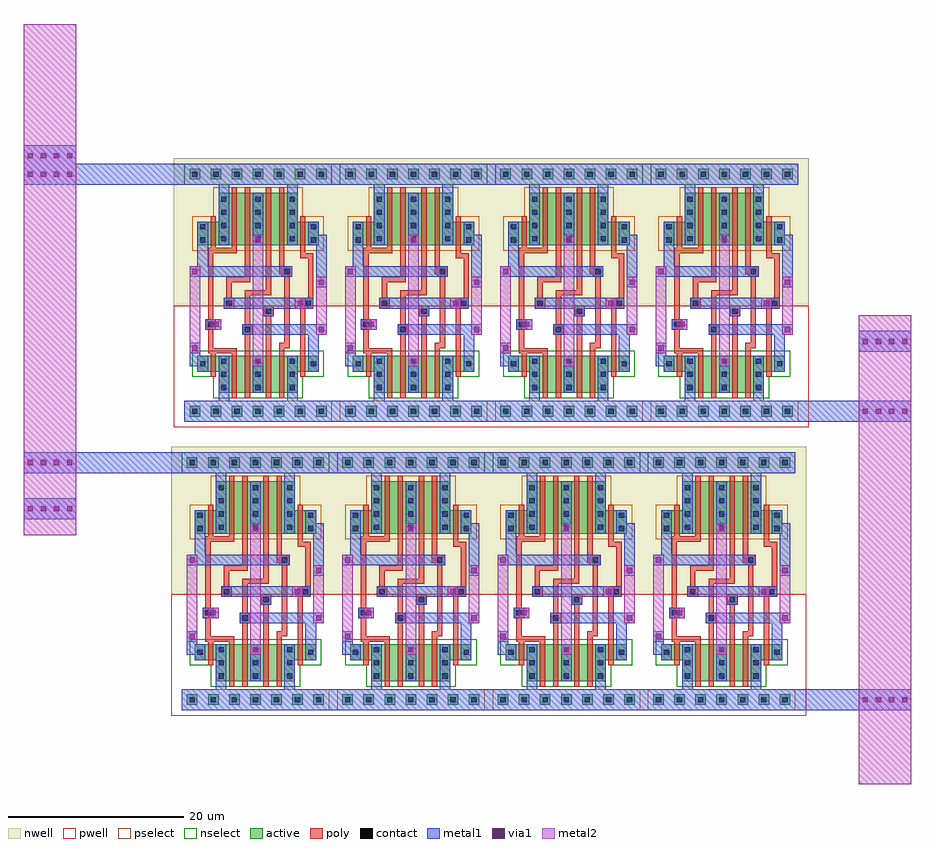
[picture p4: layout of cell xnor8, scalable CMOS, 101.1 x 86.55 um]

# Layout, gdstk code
import gdstk
lib = gdstk.Library(unit=1e-6, precision=1e-09)
def R(c, l, rs):  # rectangles x0, y0, x1, y1
    for r in rs: c.add(gdstk.rectangle(r[:2], r[2:], *l))
def A(c, l, x, y, w, h, nx, ny, dx, dy):  # array of equal rectangles
    R(c, l, [(x+i*dx, y+j*dy, x+i*dx+w, y+j*dy+h) for i in range(nx) for j in range(ny)])
contact = (25, 0)
pwell = (41, 0)
nwell = (42, 0)
active = (43, 0)
pselect = (44, 0)
nselect = (45, 0)
poly = (46, 0)
metal1 = (49, 0)
via1 = (50, 0)
metal2 = (51, 0)

xnor2_1x = lib.new_cell('xnor2_1x')
A(xnor2_1x, contact, 0.3, -0.3, 0.6, 0.6, 7, 2, 2.4, 27)
A(xnor2_1x, contact, 3.6, 2.4, 0.6, 0.6, 3, 3, 3.9, 1.5)
A(xnor2_1x, contact, 3.6, 19.35, 0.6, 0.6, 3, 4, 3.9, 1.5)
R(xnor2_1x, contact, [(1.2,5.1,1.8,5.7), (13.8,5.1,14.4,5.7), (6.3,9,6.9,9.6), (2.1,9.6,2.7,10.2), (8.7,11.1,9.3,11.7), (4.2,12,4.8,12.6), (13.2,12,13.8,12.6), (10.8,15.6,11.4,16.2), (1.2,19.2,1.8,19.8), (13.8,19.2,14.4,19.8), (1.2,20.7,1.8,21.3), (13.8,20.7,14.4,21.3)])
A(xnor2_1x, pwell, -0.9, -1.5, 3, 3, 7, 1, 2.4, 0)
A(xnor2_1x, pwell, 1.5, 0.3, 4.8, 7.8, 3, 1, 3.9, 0)
R(xnor2_1x, pwell, [(-1.8,-1.8,17.4,12), (2.1,0.3,8.1,8.1), (3.6,0.3,9.6,8.1), (6,0.3,12,8.1), (7.5,0.3,13.5,8.1), (5.7,1.5,10.2,7.35), (9.225,2.25,14.1,7.05), (3.225,2.4,8.475,6.9), (7.125,2.4,12.375,6.9), (-0.9,2.7,3.9,8.1), (-0.3,2.7,5.7,8.1), (9.9,2.7,15.9,8.1), (11.7,2.7,16.5,8.1), (1.575,2.85,6.225,7.35), (5.475,2.85,10.2,7.35), (5.625,2.85,10.2,7.35), (9.45,2.85,14.025,7.35), (11.775,2.85,16.35,7.35), (1.575,3,6.15,7.5), (-0.75,3.3,3.825,7.8)])
A(xnor2_1x, nwell, 1.5, 17.1, 4.8, 9.6, 3, 1, 3.9, 0)
A(xnor2_1x, nwell, -0.9, 25.5, 3, 3, 7, 1, 2.4, 0)
R(xnor2_1x, nwell, [(-1.8,12,17.4,28.8), (-0.9,17.1,3.9,23.4), (-0.3,17.1,5.7,23.4), (2.1,17.1,8.1,26.7), (3.6,17.1,9.6,26.7), (6,17.1,12,26.7), (7.5,17.1,13.5,26.7), (9.9,17.1,15.9,23.4), (11.7,17.1,16.5,23.4), (1.575,17.811,6.15,22.311), (1.575,17.811,6.225,22.311), (-0.75,17.85,3.825,22.35), (11.775,17.85,16.35,22.35), (9.45,18.9,14.025,23.4), (5.625,19.65,10.2,24.15), (7.125,19.95,12.375,24.45), (9.375,20.1,13.95,24.6), (5.475,20.25,10.125,24.75), (3.225,20.55,8.475,25.05)])
A(xnor2_1x, active, 0, -0.6, 1.2, 1.2, 7, 2, 2.4, 27)
A(xnor2_1x, active, 3.3, 2.1, 1.2, 4.2, 3, 1, 3.9, 0)
A(xnor2_1x, active, 3.3, 18.9, 1.2, 6, 3, 1, 3.9, 0)
R(xnor2_1x, active, [(3.9,2.1,6.3,6.3), (5.4,2.1,7.8,6.3), (7.8,2.1,10.2,6.3), (9.3,2.1,11.7,6.3), (7.5,3.3,8.4,5.55), (11.025,4.05,12.3,5.25), (5.025,4.2,6.675,5.1), (8.925,4.2,10.575,5.1), (0.9,4.5,2.1,6.3), (1.5,4.5,3.9,6.3), (11.7,4.5,14.1,6.3), (13.5,4.5,14.7,6.3), (3.375,4.65,4.425,5.55), (7.275,4.65,8.4,5.55), (7.425,4.65,8.4,5.55), (11.25,4.65,12.225,5.55), (13.575,4.65,14.55,5.55), (3.375,4.8,4.35,5.7), (1.05,5.1,2.025,6), (0.9,18.9,2.1,21.6), (1.5,18.9,3.9,21.6), (3.9,18.9,6.3,24.9), (5.4,18.9,7.8,24.9), (7.8,18.9,10.2,24.9), (9.3,18.9,11.7,24.9), (11.7,18.9,14.1,21.6), (13.5,18.9,14.7,21.6), (3.375,19.611,4.35,20.511), (3.375,19.611,4.425,20.511), (1.05,19.65,2.025,20.55), (13.575,19.65,14.55,20.55), (11.25,20.7,12.225,21.6), (7.425,21.45,8.4,22.35), (8.925,21.75,10.575,22.65), (11.175,21.9,12.15,22.8), (7.275,22.05,8.325,22.95), (5.025,22.35,6.675,23.25)])
A(xnor2_1x, pselect, -0.6, -1.2, 2.4, 2.4, 7, 1, 2.4, 0)
A(xnor2_1x, pselect, 2.7, 18.3, 2.4, 7.2, 3, 1, 3.9, 0)
R(xnor2_1x, pselect, [(0.3,18.3,2.7,22.2), (0.9,18.3,4.5,22.2), (3.3,18.3,6.9,25.5), (4.8,18.3,8.4,25.5), (7.2,18.3,10.8,25.5), (8.7,18.3,12.3,25.5), (11.1,18.3,14.7,22.2), (12.9,18.3,15.3,22.2), (2.775,19.011,4.95,21.111), (2.775,19.011,5.025,21.111), (0.45,19.05,2.625,21.15), (12.975,19.05,15.15,21.15), (10.65,20.1,12.825,22.2), (6.825,20.85,9,22.95), (8.325,21.15,11.175,23.25), (10.575,21.3,12.75,23.4), (6.675,21.45,8.925,23.55), (4.425,21.75,7.275,23.85)])
A(xnor2_1x, nselect, 2.7, 1.5, 2.4, 5.4, 3, 1, 3.9, 0)
A(xnor2_1x, nselect, -0.6, 25.8, 2.4, 2.4, 7, 1, 2.4, 0)
R(xnor2_1x, nselect, [(3.3,1.5,6.9,6.9), (4.8,1.5,8.4,6.9), (7.2,1.5,10.8,6.9), (8.7,1.5,12.3,6.9), (6.9,2.7,9,6.15), (10.425,3.45,12.9,5.85), (4.425,3.6,7.275,5.7), (8.325,3.6,11.175,5.7), (0.3,3.9,2.7,6.9), (0.9,3.9,4.5,6.9), (11.1,3.9,14.7,6.9), (12.9,3.9,15.3,6.9), (2.775,4.05,5.025,6.15), (6.675,4.05,9,6.15), (6.825,4.05,9,6.15), (10.65,4.05,12.825,6.15), (12.975,4.05,15.15,6.15), (2.775,4.2,4.95,6.3), (0.45,4.5,2.625,6.6)])
R(xnor2_1x, poly, [(4.8,1.5,5.4,6.9), (6.3,1.5,6.9,6.9), (8.7,1.5,9.3,6.9), (10.2,1.5,10.8,6.9), (2.4,3.9,3,6.9), (12.6,3.9,13.2,6.9), (2.1,6.6,3,7.2), (2.1,6.6,2.7,10.2), (2.4,6.6,5.4,7.2), (6.3,6.6,6.9,9.6), (8.7,6.6,9.3,11.7), (10.2,6.6,10.8,7.8), (12.6,6.6,13.2,12.75), (10.2,7.2,11.4,7.8), (10.8,7.2,11.4,16.2), (6,8.7,7.2,9.9), (6.3,9,6.9,9.6), (6.3,9,6.9,13.8), (1.8,9.3,3,10.5), (2.1,9.6,3,10.2), (2.1,9.6,2.7,18.6), (8.4,10.8,9.6,12), (3.9,11.7,5.1,12.9), (12.9,11.7,14.1,12.9), (4.2,12,4.8,15.3), (13.2,12,13.8,12.9), (12.6,12.15,13.8,12.75), (13.2,12.3,14.1,12.9), (13.5,12.3,14.1,18), (6.3,13.2,9.3,13.8), (8.7,13.2,9.3,18.6), (4.2,14.7,6.9,15.3), (6.3,14.7,6.9,18.6), (10.5,15.3,11.7,16.5), (10.2,15.6,10.8,18.6), (10.2,15.6,11.4,16.2), (10.2,15.6,10.8,16.2), (12.6,17.4,13.2,18.6), (12.6,17.4,14.1,18), (13.2,17.4,14.1,18), (2.1,18,3,18.6), (2.4,18,5.4,18.6), (2.4,18.3,3,22.2), (4.8,18.3,5.4,25.5), (6.3,18.3,6.9,25.5), (8.7,18.3,9.3,25.5), (10.2,18.3,10.8,25.5), (12.6,18.3,13.2,22.2)])
A(xnor2_1x, metal1, -0.6, -1.2, 4.8, 2.4, 4, 1, 2.4, 0)
A(xnor2_1x, metal1, 0, -0.6, 1.2, 1.2, 7, 1, 2.4, 0)
A(xnor2_1x, metal1, 3.3, 2.1, 1.2, 4.2, 3, 1, 3.9, 0)
A(xnor2_1x, metal1, 3.3, 18.9, 1.2, 6, 3, 1, 3.9, 0)
A(xnor2_1x, metal1, 6.6, 25.8, 4.8, 2.4, 3, 1, 2.4, 0)
A(xnor2_1x, metal1, 0, 26.4, 1.2, 1.2, 4, 1, 2.4, 0)
R(xnor2_1x, metal1, [(-0.6,-1.2,1.8,1.2), (-0.6,-1.2,4.2,1.2), (1.8,-1.2,5.1,1.2), (9,-1.2,12.9,1.2), (10.5,-1.2,13.8,1.2), (11.4,-1.2,16.2,1.2), (3.3,-0.6,4.5,3.3), (11.1,-0.6,12.3,3.3), (0.9,4.5,2.1,6.3), (13.5,4.5,14.7,6.3), (0,5.1,1.2,7.8), (0,5.1,2.1,6.3), (7.2,5.1,8.4,6.3), (7.2,5.1,8.4,6.3), (13.5,5.1,14.7,9.9), (0,6.6,1.2,7.8), (6,8.7,7.2,9.9), (6,8.7,14.7,9.9), (13.5,8.7,15.6,9.9), (14.4,8.7,15.6,9.9), (1.8,9.3,3,10.5), (1.8,9.3,3,10.5), (1.8,9.3,3.6,10.5), (2.4,9.3,3.6,10.5), (8.4,10.8,9.6,12), (8.4,10.8,9.6,12.9), (3.9,11.7,5.1,12.9), (3.9,11.7,9.6,12.9), (8.4,11.7,13.2,12.9), (12,11.7,13.2,12.9), (12,11.7,14.1,12.9), (12.9,11.7,14.1,12.9), (14.4,14.1,15.6,20.1), (14.4,14.1,15.6,15.3), (0,15.3,1.2,16.5), (0,15.3,2.1,16.5), (0.9,15.3,11.7,16.5), (0.9,15.3,2.1,20.1), (10.5,15.3,11.7,16.5), (0.9,18.9,2.1,21.6), (7.2,18.9,8.4,20.1), (7.2,18.9,8.4,20.1), (13.5,18.9,14.7,21.6), (13.5,18.9,15.6,20.1), (3.3,23.7,4.5,27.6), (11.1,23.7,12.3,27.6), (-0.6,25.8,1.8,28.2), (-0.6,25.8,4.2,28.2), (1.8,25.8,9,28.2), (1.8,25.8,5.1,28.2), (10.5,25.8,13.8,28.2), (0,26.4,1.2,27.6), (4.8,26.4,8.4,27.6), (7.2,26.4,8.4,27.6), (9.6,26.4,10.8,27.6), (9.6,26.4,10.8,27.6), (12,26.4,13.2,27.6), (12,26.4,13.2,27.6), (14.4,26.4,15.6,27.6)])
R(xnor2_1x, via1, [(7.5,5.4,8.1,6), (0.3,6.9,0.9,7.5), (14.7,9,15.3,9.6), (2.7,9.6,3.3,10.2), (12.3,12,12.9,12.6), (14.7,14.4,15.3,15), (0.3,15.6,0.9,16.2), (7.5,19.2,8.1,19.8)])
R(xnor2_1x, metal2, [(7.2,5.1,8.4,6.3), (7.2,5.1,8.4,13.2), (0,6.6,1.2,7.8), (0,6.6,1.2,16.5), (14.4,8.7,15.6,9.9), (14.4,8.7,15.6,15.3), (2.4,9.3,3.6,10.5), (12,11.7,13.2,12.9), (7.2,12,8.4,20.1), (14.4,14.1,15.6,15.3), (0,15.3,1.2,16.5), (7.2,18.9,8.4,20.1)])

xnor8 = lib.new_cell('xnor8')
A(xnor8, metal1, -51, -23.55, 20.1, 2.4, 3, 2, 17.7, 27)
A(xnor8, metal1, -50.7, 9.3, 20.1, 2.4, 3, 2, 17.7, 27)
R(xnor8, metal1, [(2.1,-23.55,30.3,-21.15), (26.1,-23.55,32.1,-21.15), (-69,-1.8,-63,0.6), (-69,3.45,-63,5.85), (-67.2,3.45,-48.6,5.85), (2.4,9.3,30.3,11.7), (26.1,9.3,32.1,11.7), (26.1,17.25,32.1,19.65), (-69,36.3,-63,38.7), (-67.2,36.3,-48.3,38.7), (-69,38.4,-63,40.8)])
A(xnor8, via1, 26.55, -22.65, 0.6, 0.6, 4, 2, 1.5, 32.85)
A(xnor8, via1, -68.55, -0.9, 0.6, 0.6, 4, 2, 1.5, 5.25)
A(xnor8, via1, 26.55, 18.15, 0.6, 0.6, 4, 1, 1.5, 0)
A(xnor8, via1, -68.55, 37.2, 0.6, 0.6, 4, 2, 1.5, 2.1)
R(xnor8, metal2, [(26.1,-31.95,32.1,-19.35), (26.1,-25.35,32.1,13.5), (26.1,-23.55,32.1,-21.15), (-69,-3.6,-63,7.65), (-69,-1.8,-63,0.6), (-69,1.65,-63,40.5), (-69,3.45,-63,5.85), (26.1,7.5,32.1,21.45), (26.1,9.3,32.1,11.7), (26.1,17.25,32.1,19.65), (-69,34.5,-63,42.6), (-69,36.3,-63,38.7), (-69,38.4,-63,40.8), (-69,39.6,-63,54.6)])
xnor8.add(gdstk.Reference(xnor2_1x, (-50.4,-22.35)))
xnor8.add(gdstk.Reference(xnor2_1x, (-32.7,-22.35)))
xnor8.add(gdstk.Reference(xnor2_1x, (-15,-22.35)))
xnor8.add(gdstk.Reference(xnor2_1x, (2.7,-22.35)))
xnor8.add(gdstk.Reference(xnor2_1x, (-50.1,10.5)))
xnor8.add(gdstk.Reference(xnor2_1x, (-32.4,10.5)))
xnor8.add(gdstk.Reference(xnor2_1x, (-14.7,10.5)))
xnor8.add(gdstk.Reference(xnor2_1x, (3,10.5)))

lib.write_gds('xnor8.gds')
